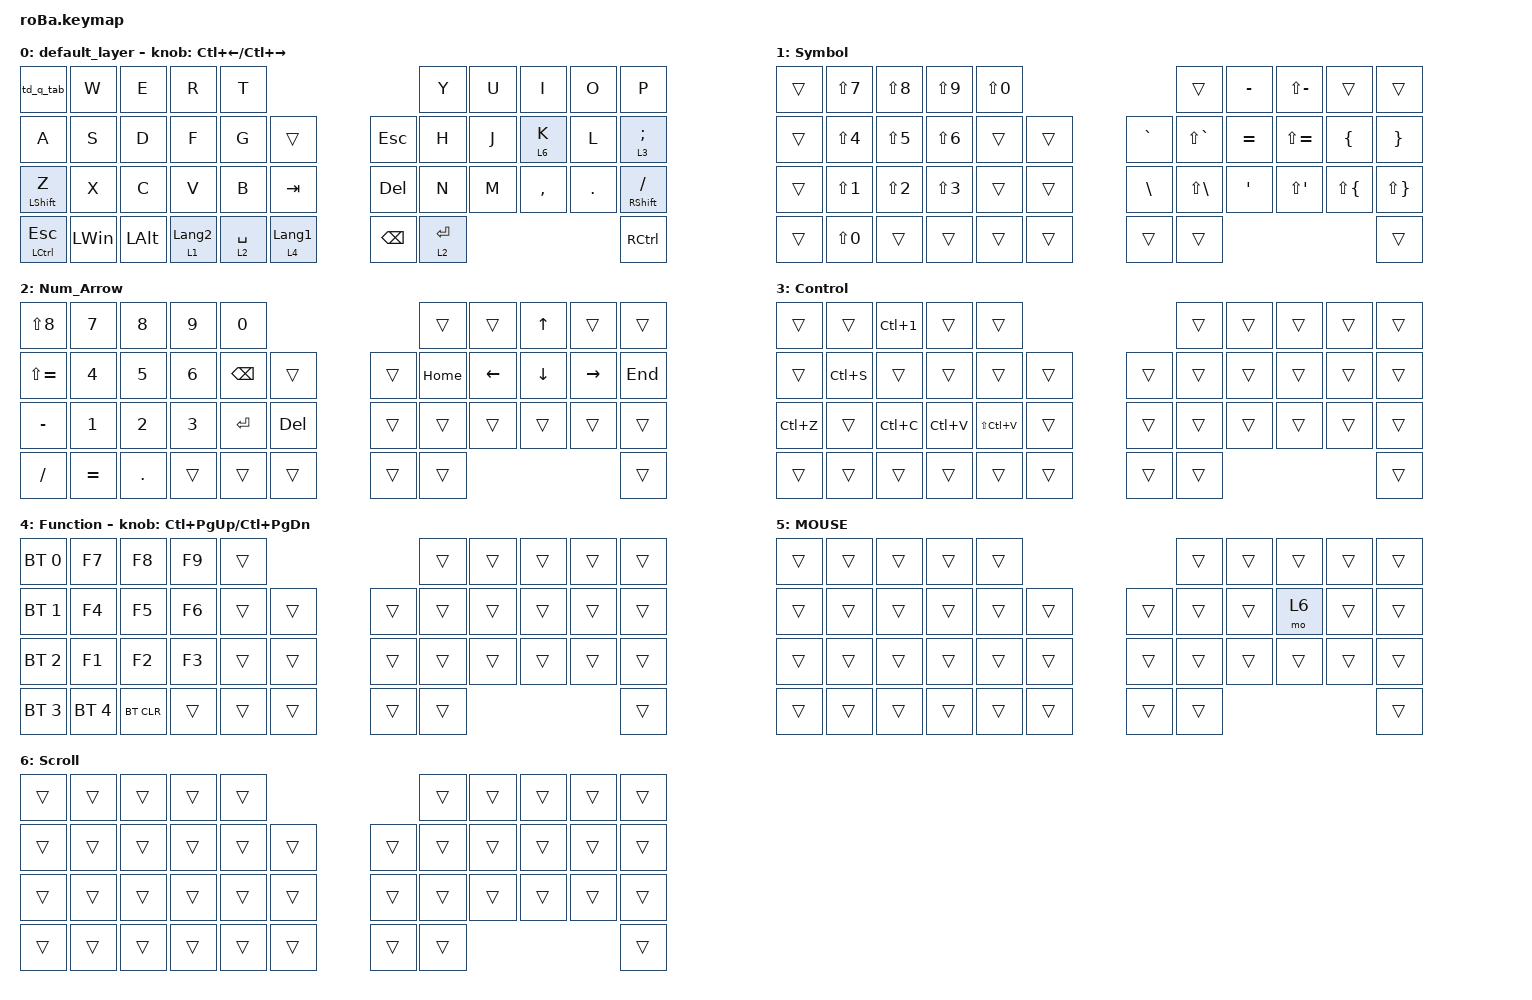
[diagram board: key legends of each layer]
#include <behaviors.dtsi>
#include <dt-bindings/zmk/bt.h>
#include <dt-bindings/zmk/keys.h>
#include <dt-bindings/zmk/pointing.h>

&mt {
    flavor = "tap-preferred";
    tapping-term-ms = <200>;
    quick-tap-ms = <0>;
};

/ {
    combos {
        compatible = "zmk,combos";

        tab {
            bindings = <&kp TAB>;
            key-positions = <11 12>;
        };

        shift_tab {
            bindings = <&kp LS(TAB)>;
            key-positions = <12 13>;
        };

        muhennkann {
            bindings = <&to_layer_0 INT_MUHENKAN>;
            key-positions = <11 10>;
        };

        double_quotation {
            bindings = <&kp DOUBLE_QUOTES>;
            key-positions = <20 21>;
        };

        eq {
            bindings = <&kp EQUAL>;
            key-positions = <24 25>;
        };

        left_click {
            bindings = <&mkp MB1>;
            key-positions = <18 19>;
        };

        right_click {
            bindings = <&mkp MB2>;
            key-positions = <19 20>;
        };

        middle_click {
            bindings = <&mkp MB3>;
            key-positions = <19 20 18>;
        };
    };

    macros {
        to_layer_0: to_layer_0 {
            compatible = "zmk,behavior-macro-one-param";
            #binding-cells = <1>;
            bindings = <&to 0 &macro_param_1to1 &kp MACRO_PLACEHOLDER>;
            label = "TO_LAYER_0";
        };
    };

    behaviors {
        lt_to_layer_0: lt_to_layer_0 {
            compatible = "zmk,behavior-hold-tap";
            label = "LAYER_TAP_TO_0";
            bindings = <&mo>, <&to_layer_0>;

            #binding-cells = <2>;
            tapping-term-ms = <200>;
        };

        td_q_tab: td_q_tab {
            compatible = "zmk,behavior-tap-dance";
            #binding-cells = <0>;
            tapping-term-ms = <200>;
            bindings = <&kp Q>, <&kp TAB>;
        };
    };

    keymap {
        compatible = "zmk,keymap";

        default_layer {
            bindings = <
&td_q_tab         &kp W         &kp E         &kp R                        &kp T                                                        &kp Y        &kp U  &kp I      &kp O    &kp P
&kp A             &kp S         &kp D         &kp F                        &kp G        &trans                           &kp ESCAPE     &kp H        &kp J  &lt 6 K    &kp L    &lt 3 SEMI
&mt LEFT_SHIFT Z  &kp X         &kp C         &kp V                        &kp B        &kp TAB                          &kp DEL        &kp N        &kp M  &kp COMMA  &kp DOT  &mt RIGHT_SHIFT FSLH
&mt LCTRL ESCAPE  &kp LEFT_WIN  &kp LEFT_ALT  &lt_to_layer_0 1 LANGUAGE_2  &lt 2 SPACE  &lt_to_layer_0 4 LANGUAGE_1      &kp BACKSPACE  &lt 2 ENTER                             &kp RCTRL
            >;

            sensor-bindings = <&inc_dec_kp LC(LEFT_ARROW) LC(RIGHT_ARROW)>;
        };

        Symbol {
            bindings = <
&trans  &kp LS(NUMBER_7)  &kp LS(NUMBER_8)  &kp LS(NUMBER_9)  &kp LS(NUMBER_0)                             &trans             &kp MINUS  &kp LS(MINUS)  &trans              &trans
&trans  &kp LS(NUMBER_4)  &kp LS(NUMBER_5)  &kp LS(NUMBER_6)  &trans            &trans      &kp GRAVE      &kp LS(GRAVE)      &kp EQUAL  &kp LS(EQUAL)  &kp LEFT_BRACE      &kp RIGHT_BRACE
&trans  &kp LS(NUMBER_1)  &kp LS(NUMBER_2)  &kp LS(NUMBER_3)  &trans            &trans      &kp BACKSLASH  &kp LS(BACKSLASH)  &kp APOS   &kp LS(APOS)   &kp LS(LEFT_BRACE)  &kp LS(RIGHT_BRACE)
&trans  &kp LS(NUMBER_0)  &trans            &trans            &trans            &trans      &trans         &trans                                                           &trans
            >;
        };

        Num_Arrow {
            bindings = <
&kp LS(NUMBER_8)  &kp NUMBER_7  &kp NUMBER_8  &kp NUMBER_9  &kp NUMBER_0                           &trans    &trans    &kp UP    &trans     &trans
&kp LS(EQUAL)     &kp NUMBER_4  &kp NUMBER_5  &kp NUMBER_6  &kp BACKSPACE  &trans          &trans  &kp HOME  &kp LEFT  &kp DOWN  &kp RIGHT  &kp END
&kp MINUS         &kp NUMBER_1  &kp NUMBER_2  &kp NUMBER_3  &kp ENTER      &kp DELETE      &trans  &trans    &trans    &trans    &trans     &trans
&kp SLASH         &kp EQUAL     &kp PERIOD    &trans        &trans         &trans          &trans  &trans                                   &trans
            >;
        };

        Control {
            bindings = <
&trans     &trans     &kp LC(NUMBER_1)  &trans     &trans                             &trans  &trans  &trans  &trans  &trans
&trans     &kp LC(S)  &trans            &trans     &trans         &trans      &trans  &trans  &trans  &trans  &trans  &trans
&kp LC(Z)  &trans     &kp LC(C)         &kp LC(V)  &kp LS(LC(V))  &trans      &trans  &trans  &trans  &trans  &trans  &trans
&trans     &trans     &trans            &trans     &trans         &trans      &trans  &trans                          &trans
            >;
        };

        Function {
            bindings = <
&bt BT_SEL 0  &kp F7        &kp F8      &kp F9  &trans                      &trans  &trans  &trans  &trans  &trans
&bt BT_SEL 1  &kp F4        &kp F5      &kp F6  &trans  &trans      &trans  &trans  &trans  &trans  &trans  &trans
&bt BT_SEL 2  &kp F1        &kp F2      &kp F3  &trans  &trans      &trans  &trans  &trans  &trans  &trans  &trans
&bt BT_SEL 3  &bt BT_SEL 4  &bt BT_CLR  &trans  &trans  &trans      &trans  &trans                          &trans
            >;

            sensor-bindings = <&inc_dec_kp LC(PAGE_UP) LC(PAGE_DOWN)>;
        };

        MOUSE {
            bindings = <
&trans  &trans  &trans  &trans  &trans                      &trans  &trans  &trans  &trans  &trans
&trans  &trans  &trans  &trans  &trans  &trans      &trans  &trans  &trans  &mo 6   &trans  &trans
&trans  &trans  &trans  &trans  &trans  &trans      &trans  &trans  &trans  &trans  &trans  &trans
&trans  &trans  &trans  &trans  &trans  &trans      &trans  &trans                          &trans
            >;
        };

        Scroll {
            bindings = <
&trans  &trans  &trans  &trans  &trans                      &trans  &trans  &trans  &trans  &trans
&trans  &trans  &trans  &trans  &trans  &trans      &trans  &trans  &trans  &trans  &trans  &trans
&trans  &trans  &trans  &trans  &trans  &trans      &trans  &trans  &trans  &trans  &trans  &trans
&trans  &trans  &trans  &trans  &trans  &trans      &trans  &trans                          &trans
            >;
        };
    };
};
